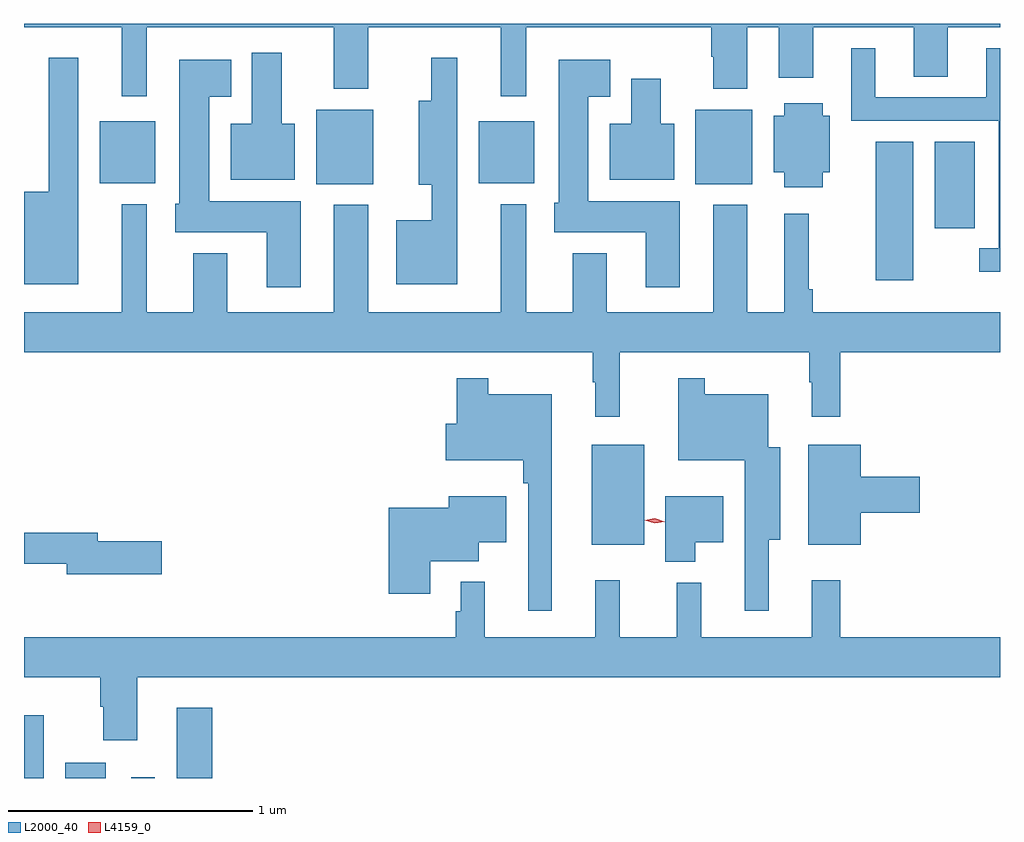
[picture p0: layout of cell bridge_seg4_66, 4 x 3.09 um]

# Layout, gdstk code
import gdstk
lib = gdstk.Library(unit=1e-6, precision=1e-09)
def R(c, l, rs):  # rectangles x0, y0, x1, y1
    for r in rs: c.add(gdstk.rectangle(r[:2], r[2:], *l))
def P(c, l, *ps):  # polygons
    for p in ps: c.add(gdstk.Polygon(p, *l))
L2000_40 = (2000, 40)
L4159_0 = (4159, 0)

bridge_seg4_66 = lib.new_cell('bridge_seg4_66')
R(bridge_seg4_66, L2000_40, [(723.943,829.707,724.023,829.966), (724.112,829.707,724.279,829.771), (724.383,829.707,724.479,829.711), (724.568,829.707,724.715,829.996), (726.269,830.663,726.484,831.073), (727.433,831.747,727.588,832.316), (727.676,831.96,727.84,832.316), (725.141,832.142,725.374,832.447), (726.695,832.142,726.928,832.447), (724.253,832.145,724.48,832.399), (725.807,832.145,726.034,832.399)])
P(bridge_seg4_66, L2000_40, [(724.447,832.784),(725.213,832.784),(725.213,832.532),(725.353,832.532),(725.353,832.784),(725.897,832.784),(725.897,832.503),(726.001,832.503),(726.001,832.784),(726.76,832.784),(726.76,832.664),(726.767,832.664),(726.767,832.532),(726.907,832.532),(726.907,832.784),(727.037,832.784),(727.037,832.578),(727.177,832.578),(727.177,832.784),(727.589,832.784),(727.589,832.582),(727.729,832.582),(727.729,832.784),(727.943,832.784),(727.943,832.799),(723.943,832.799),(723.943,832.784),(724.343,832.784),(724.343,832.503),(724.447,832.503)],
  [(727.943,832.699),(727.886,832.699),(727.886,832.497),(727.432,832.497),(727.432,832.699),(727.334,832.699),(727.334,832.401),(727.938,832.401),(727.938,831.879),(727.857,831.879),(727.857,831.782),(727.943,831.782)],
  [(725.053,832.39),(724.999,832.39),(724.999,832.681),(724.877,832.681),(724.877,832.39),(724.79,832.39),(724.79,832.16),(725.053,832.16)],
  [(725.719,832.66),(725.613,832.66),(725.613,832.483),(725.561,832.483),(725.561,832.139),(725.615,832.139),(725.615,831.994),(725.468,831.994),(725.468,831.731),(725.719,831.731)],
  [(724.165,832.66),(724.044,832.66),(724.044,832.111),(723.943,832.111),(723.943,831.731),(724.165,831.731)],
  [(725.077,832.072),(724.702,832.072),(724.702,832.499),(724.792,832.499),(724.792,832.651),(724.58,832.651),(724.58,832.062),(724.562,832.062),(724.562,831.944),(724.937,831.944),(724.937,831.72),(725.077,831.72)],
  [(726.631,832.072),(726.256,832.072),(726.256,832.499),(726.346,832.499),(726.346,832.651),(726.134,832.651),(726.134,832.065),(726.116,832.065),(726.116,831.944),(726.491,831.944),(726.491,831.72),(726.631,831.72)],
  [(726.607,832.39),(726.553,832.39),(726.553,832.573),(726.431,832.573),(726.431,832.39),(726.344,832.39),(726.344,832.16),(726.607,832.16)],
  [(727.216,832.19),(727.246,832.19),(727.246,832.423),(727.216,832.423),(727.216,832.474),(727.058,832.474),(727.058,832.423),(727.016,832.423),(727.016,832.19),(727.058,832.19),(727.058,832.13),(727.216,832.13)],
  [(726.384,831.452),(727.161,831.452),(727.161,831.329),(727.172,831.329),(727.172,831.189),(727.289,831.189),(727.289,831.452),(727.943,831.452),(727.943,831.616),(727.175,831.616),(727.175,831.712),(727.16,831.712),(727.16,832.021),(727.058,832.021),(727.058,831.616),(726.907,831.616),(726.907,832.057),(726.767,832.057),(726.767,831.616),(726.331,831.616),(726.331,831.859),(726.191,831.859),(726.191,831.616),(726.001,831.616),(726.001,832.06),(725.897,832.06),(725.897,831.616),(725.353,831.616),(725.353,832.057),(725.213,832.057),(725.213,831.616),(724.777,831.616),(724.777,831.859),(724.637,831.859),(724.637,831.616),(724.447,831.616),(724.447,832.06),(724.343,832.06),(724.343,831.616),(723.943,831.616),(723.943,831.452),(726.273,831.452),(726.273,831.329),(726.284,831.329),(726.284,831.189),(726.384,831.189)],
  [(726.995,830.684),(727.042,830.684),(727.042,831.064),(726.994,831.064),(726.994,831.28),(726.733,831.28),(726.733,831.346),(726.624,831.346),(726.624,831.011),(726.897,831.011),(726.897,830.394),(726.995,830.394)],
  [(726.106,831.28),(725.845,831.28),(725.845,831.346),(725.716,831.346),(725.716,831.159),(725.672,831.159),(725.672,831.011),(725.989,831.011),(725.989,830.915),(726.009,830.915),(726.009,830.394),(726.106,830.394)],
  [(727.372,830.795),(727.615,830.795),(727.615,830.942),(727.372,830.942),(727.372,831.073),(727.157,831.073),(727.157,830.663),(727.372,830.663)],
  [(726.694,830.675),(726.808,830.675),(726.808,830.863),(726.572,830.863),(726.572,830.594),(726.694,830.594)],
  [(725.608,830.597),(725.806,830.597),(725.806,830.675),(725.92,830.675),(725.92,830.863),(725.684,830.863),(725.684,830.815),(725.438,830.815),(725.438,830.463),(725.608,830.463)],
  [(724.507,830.678),(724.246,830.678),(724.246,830.714),(723.943,830.714),(723.943,830.586),(724.118,830.586),(724.118,830.543),(724.507,830.543)],
  [(724.408,830.12),(727.943,830.12),(727.943,830.284),(727.289,830.284),(727.289,830.518),(727.172,830.518),(727.172,830.284),(726.719,830.284),(726.719,830.509),(726.619,830.509),(726.619,830.284),(726.384,830.284),(726.384,830.518),(726.284,830.518),(726.284,830.284),(725.831,830.284),(725.831,830.512),(725.733,830.512),(725.733,830.391),(725.713,830.391),(725.713,830.284),(723.943,830.284),(723.943,830.12),(724.256,830.12),(724.256,830),(724.268,830),(724.268,829.863),(724.408,829.863)])
P(bridge_seg4_66, L4159_0, [(726.528,830.752),(726.488,830.764),(726.488,830.764),(726.488,830.765),(726.529,830.772),(726.569,830.759),(726.569,830.759),(726.569,830.759)])

lib.write_gds('bridge_seg4_66.gds')
